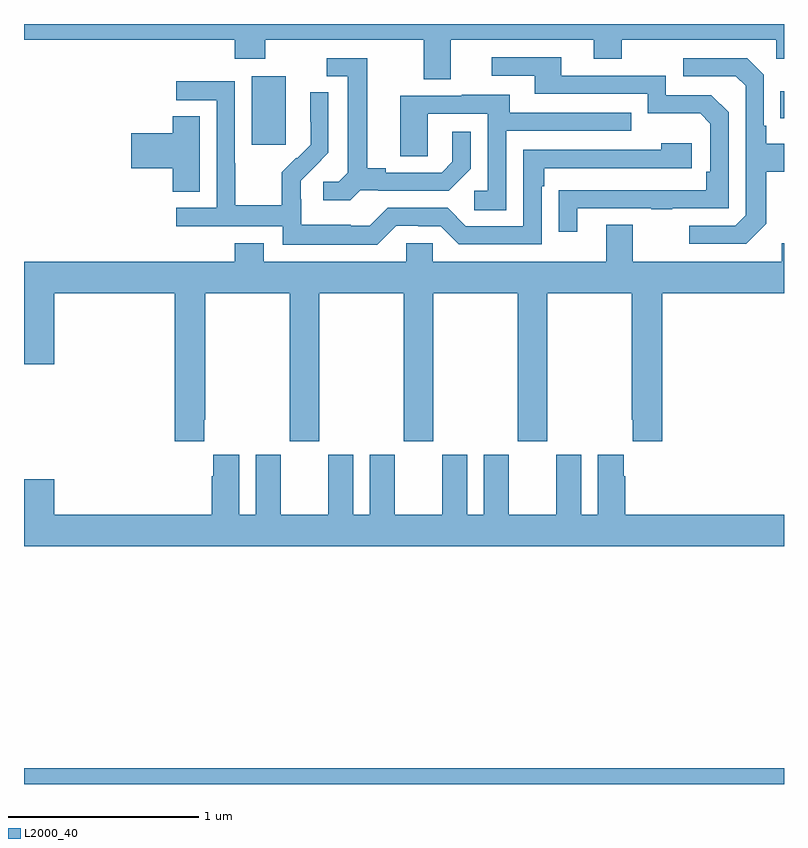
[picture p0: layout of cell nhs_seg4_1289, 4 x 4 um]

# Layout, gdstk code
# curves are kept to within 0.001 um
import gdstk
lib = gdstk.Library(unit=1e-6, precision=1e-09)
def R(c, l, rs):  # rectangles x0, y0, x1, y1
    for r in rs: c.add(gdstk.rectangle(r[:2], r[2:], *l))
def P(c, l, *ps):  # polygons
    for p in ps: c.add(gdstk.Polygon(p, *l))
L2000_40 = (2000, 40)

nhs_seg4_1289 = lib.new_cell('nhs_seg4_1289')
R(nhs_seg4_1289, L2000_40, [(177,796.9,181,796.984), (178.199,800.265,178.378,800.626), (180.979,800.405,181,800.545)])
P(nhs_seg4_1289, L2000_40, [(177,800.816),(178.109,800.816),(178.109,800.717),(178.269,800.717),(178.269,800.816),(179.105,800.816),(179.105,800.608),(179.245,800.608),(179.245,800.816),(179.999,800.816),(179.999,800.717),(180.147,800.717),(180.147,800.816),(180.96,800.816),(180.96,800.717),(181,800.717),(181,800.9),(177,800.9)],
  [(179.911,799.929),(180.301,799.929),(180.301,799.924),(180.413,799.924),(180.413,799.929),(180.708,799.929),(180.708,800.436),(180.618,800.526),(180.378,800.526),(180.378,800.628),(179.827,800.628),(179.827,800.724),(179.463,800.724),(179.463,800.628),(179.687,800.628),(179.687,800.532),(180.282,800.532),(180.282,800.429),(180.559,800.429),(180.612,800.376),(180.612,800.122),(180.592,800.122),(180.592,800.025),(179.815,800.024),(179.815,799.806),(179.911,799.806)],
  [(178.77,800.025),(178.864,800.025),(178.864,800.022),(179.236,800.022),(179.352,800.138),(179.352,800.332),(179.255,800.332),(179.255,800.175),(179.198,800.118),(178.903,800.118),(178.903,800.141),(178.807,800.141),(178.807,800.721),(178.593,800.721),(178.593,800.625),(178.703,800.625),(178.703,800.117),(178.656,800.07),(178.575,800.07),(178.575,799.973),(178.718,799.973)],
  [(180.907,799.849),(180.907,800.122),(181,800.122),(181,800.269),(180.907,800.269),(180.907,800.365),(180.894,800.365),(180.894,800.634),(180.807,800.721),(180.471,800.721),(180.471,800.625),(180.747,800.625),(180.798,800.574),(180.798,799.893),(180.744,799.839),(180.501,799.839),(180.501,799.743),(180.801,799.743)],
  [(178.959,799.839),(179.075,799.839),(179.075,799.836),(179.193,799.836),(179.289,799.74),(179.724,799.74),(179.724,800.045),(179.737,800.045),(179.737,800.142),(180.514,800.142),(180.514,800.272),(180.353,800.272),(180.353,800.238),(179.628,800.238),(179.628,799.836),(179.325,799.836),(179.229,799.932),(178.914,799.932),(178.821,799.839),(178.721,799.839),(178.721,799.843),(178.458,799.843),(178.458,799.977),(178.456,799.977),(178.456,800.074),(178.602,800.222),(178.602,800.54),(178.506,800.54),(178.506,800.386),(178.508,800.386),(178.508,800.264),(178.437,800.193),(178.434,800.196),(178.357,800.119),(178.357,799.945),(178.113,799.945),(178.113,800.168),(178.11,800.168),(178.11,800.598),(177.801,800.598),(177.801,800.499),(178.014,800.499),(178.014,799.932),(177.801,799.932),(177.801,799.836),(178.362,799.836),(178.362,799.739),(178.859,799.739)],
  [(179.538,800.337),(180.197,800.337),(180.197,800.433),(179.557,800.433),(179.557,800.527),(179.303,800.527),(179.303,800.523),(178.979,800.523),(178.979,800.203),(179.124,800.203),(179.124,800.427),(179.442,800.427),(179.442,800.022),(179.37,800.022),(179.37,799.921),(179.538,799.921)],
  [(177.925,800.414),(177.782,800.414),(177.782,800.324),(177.564,800.324),(177.564,800.141),(177.782,800.141),(177.782,800.017),(177.925,800.017)],
  [(177.949,798.817),(177.954,798.817),(177.954,799.484),(178.399,799.484),(178.399,798.705),(178.554,798.705),(178.554,799.484),(178.999,799.484),(178.999,798.705),(179.154,798.705),(179.154,799.484),(179.599,799.484),(179.599,798.705),(179.754,798.705),(179.754,799.484),(180.199,799.484),(180.199,798.817),(180.203,798.817),(180.203,798.705),(180.359,798.705),(180.359,799.484),(181,799.484),(181,799.747),(180.989,799.747),(180.989,799.648),(180.205,799.648),(180.205,799.843),(180.065,799.843),(180.065,799.648),(179.151,799.648),(179.151,799.746),(179.013,799.746),(179.013,799.648),(178.261,799.648),(178.261,799.747),(178.109,799.747),(178.109,799.648),(177,799.648),(177,799.11),(177.16,799.11),(177.16,799.484),(177.794,799.484),(177.794,798.705),(177.949,798.705)],
  [(181,798.316),(180.164,798.316),(180.164,798.521),(180.157,798.521),(180.157,798.634),(180.02,798.634),(180.02,798.316),(179.932,798.316),(179.932,798.634),(179.801,798.634),(179.801,798.316),(179.551,798.316),(179.551,798.634),(179.42,798.634),(179.42,798.316),(179.332,798.316),(179.332,798.634),(179.201,798.634),(179.201,798.316),(178.951,798.316),(178.951,798.634),(178.82,798.634),(178.82,798.316),(178.732,798.316),(178.732,798.634),(178.601,798.634),(178.601,798.316),(178.351,798.316),(178.351,798.634),(178.22,798.634),(178.22,798.316),(178.132,798.316),(178.132,798.634),(177.995,798.634),(177.995,798.521),(177.989,798.521),(177.989,798.316),(177.16,798.316),(177.16,798.505),(177,798.505),(177,798.152),(181,798.152)])

lib.write_gds('nhs_seg4_1289.gds')
